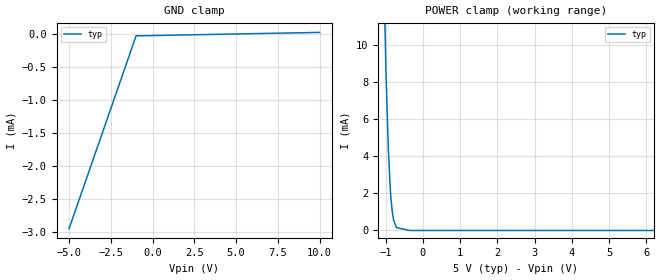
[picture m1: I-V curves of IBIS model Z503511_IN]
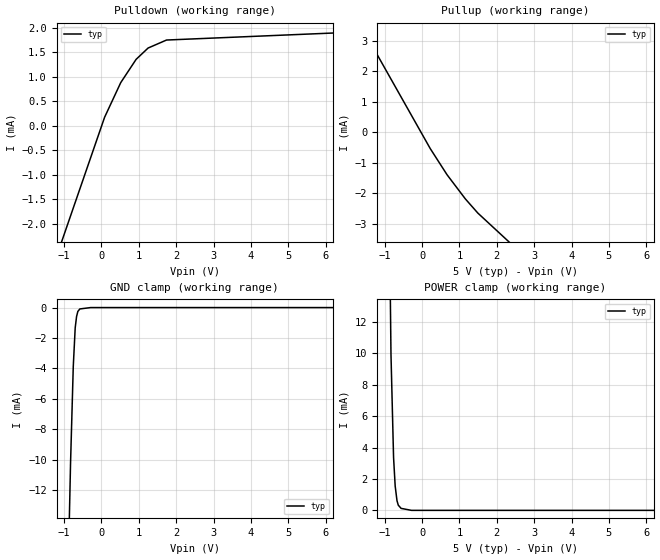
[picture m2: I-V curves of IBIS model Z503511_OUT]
| YOU ARE ONLY AUTHORIZED TO USE THIS SOFTWARE
| ACCORDING TO LICENSOR'S LICENSE RESTRICTIONS.
[IBIS Ver] 3.1
[File Name] mc14027bd.ibs
[File Rev] 2.0
[Source] Measured and created by ICX Technology
[Date] Friday 7/14/00 9:07:52 AM
[Copyright]
| (C) COPYRIGHT 1993-2000
| MENTOR GRAPHICS CORPORATION
| ICX STANDARD LIBRARY, ICX PROJECT MODELING,
| ICX CUSTOM MODELING, ICX VENDOR MODEL
| ALL RIGHTS RESERVED.
| THE FOLLOWING ARE TRADEMARKS OR SERVICE MARKS OF
| MENTOR GRAPHICS CORPORATION:ICX (R), ICX STANDARD
| LIBRARY(R), ICX PROJECT MODELING(R), ICX CUSTOM
| MODELING(R), qualityIBIS(TM), MODELVIEWER(TM),
| AND MODELEDITOR(TM)
| ALL COPIES OF SOFTWARE, INCLUDING BUT NOT LIMITED TO
| ANY MODIFICATIONS, ENHANCEMENTS OR DERIVATIVE WORKS,
| MUST CONTAIN ALL MENTOR GRAPHICS CORPORATION'S
| NOTICES AND LEGENDS, INCLUDING THOSE EMBEDDED IN
| SOFTWARE AND THOSE AFFIXED TO SOFTWARE MEDIUM
| AND CONTAINER, AS RECEIVED FROM MENTOR GRAPHICS
| CORPORATION.
|  ZAP Model Builder 2.7
[Component] MC14027BD
[Manufacturer] OnSemiconductor
[Package]
| variable   typ   min   max
R_pkg  .156ohms NA NA
L_pkg  3.148nH NA NA
C_pkg  .388pF NA NA
[Pin] signal_name  model_name  R_pin  L_pin C_pin
1 QA Z503511_OUT .162 3.798n .418p
2 _QA Z503511_OUT .158 3.358n .398p
3 CA Z503511_IN .154 2.928n .378p
4 RA Z503511_IN .15 2.508n .358p
5 KA Z503511_IN .15 2.508n .358p
6 JA Z503511_IN .154 2.928n .378p
7 SA Z503511_IN .158 3.358n .398p
8 VSS GND .162 3.798n .418p
9 SB Z503511_IN .162 3.798n .418p
10 JB Z503511_IN .158 3.358n .398p
11 KB Z503511_IN .154 2.928n .378p
12 RB Z503511_IN .15 2.508n .358p
13 CB Z503511_IN .15 2.508n .358p
14 _QB Z503511_OUT .154 2.928n .378p
15 QB Z503511_OUT .158 3.358n .398p
16 VDD POWER .162 3.798n .418p
| Models and submodels in the file (2): Z503511_IN (Input), Z503511_OUT (Output)
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| (C) COPYRIGHT 1993-2000
| MENTOR GRAPHICS CORPORATION
| ICX STANDARD LIBRARY, ICX PROJECT MODELING,
| ICX CUSTOM MODELING, ICX VENDOR MODEL
| ALL RIGHTS RESERVED.
| THE FOLLOWING ARE TRADEMARKS OR SERVICE MARKS OF
| MENTOR GRAPHICS CORPORATION:ICX (R), ICX STANDARD
| LIBRARY(R), ICX PROJECT MODELING(R), ICX CUSTOM
| MODELING(R), qualityIBIS(TM), MODELVIEWER(TM),
| AND MODELEDITOR(TM)
| ALL COPIES OF SOFTWARE, INCLUDING BUT NOT LIMITED TO
| ANY MODIFICATIONS, ENHANCEMENTS OR DERIVATIVE WORKS,
| MUST CONTAIN ALL MENTOR GRAPHICS CORPORATION'S
| NOTICES AND LEGENDS, INCLUDING THOSE EMBEDDED IN
| SOFTWARE AND THOSE AFFIXED TO SOFTWARE MEDIUM
| AND CONTAINER, AS RECEIVED FROM MENTOR GRAPHICS
| CORPORATION.
| Model Application Version 1.89 2/18/99.
[Model] Z503511_IN
Model_type Input
Vinl = 1.500V
Vinh = 3.500V
C_comp 4.000pF NA NA
| variable typ   min   max
[Voltage Range] 5.000V NA NA
[GND Clamp Reference] 0.000V NA NA
[POWER Clamp Reference] 5.000V NA NA
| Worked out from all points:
|   POWER clamp passes 1 mA (typ) near -0.82 V on its own axis
[GND Clamp]
-5V       -2.944mA   NA         NA
-986.5mV  -26.27uA   NA         NA
10V       26.1uA     NA         NA
[POWER Clamp]
-5V       570.5mA    NA         NA
-1.22V    34.3mA     NA         NA
-1.059V   14.93mA    NA         NA
-986mV    8.301mA    NA         NA
-923mV    4.285mA    NA         NA
-869mV    2.055mA    NA         NA
-820mV    1.005mA    NA         NA
-785mV    571.3uA    NA         NA
-707mV    153uA      NA         NA
-353.5mV  0A         NA         NA
10V       0A         NA         NA
| (C) COPYRIGHT 1993-2000
| MENTOR GRAPHICS CORPORATION
| ICX STANDARD LIBRARY, ICX PROJECT MODELING,
| ICX CUSTOM MODELING, ICX VENDOR MODEL
| ALL RIGHTS RESERVED.
| THE FOLLOWING ARE TRADEMARKS OR SERVICE MARKS OF
| MENTOR GRAPHICS CORPORATION:ICX (R), ICX STANDARD
| LIBRARY(R), ICX PROJECT MODELING(R), ICX CUSTOM
| MODELING(R), qualityIBIS(TM), MODELVIEWER(TM),
| AND MODELEDITOR(TM)
| ALL COPIES OF SOFTWARE, INCLUDING BUT NOT LIMITED TO
| ANY MODIFICATIONS, ENHANCEMENTS OR DERIVATIVE WORKS,
| MUST CONTAIN ALL MENTOR GRAPHICS CORPORATION'S
| NOTICES AND LEGENDS, INCLUDING THOSE EMBEDDED IN
| SOFTWARE AND THOSE AFFIXED TO SOFTWARE MEDIUM
| AND CONTAINER, AS RECEIVED FROM MENTOR GRAPHICS
| CORPORATION.
| Model Application Version 1.89 2/18/99.
[Model] Z503511_OUT
Model_type Output
Vref=0.000V
Rref=500.0Mohms
Cref=50.00pF
Vmeas=2.500V
C_comp 8.000pF NA NA
| variable typ   min   max
[Voltage Range] 5.000V NA NA
[POWER Clamp Reference] 5.000V NA NA
[Pullup Reference] 5.000V NA NA
[Pulldown Reference] 0.000V NA NA
[GND Clamp Reference] 0.000V NA NA
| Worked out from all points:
|   slope of the pulldown table from 0 to 0.75 V, typ, clamps not added: 644 ohm
|   slope of the pullup table from 0 to 0.75 V, typ, clamps not added: 512 ohm
|   GND clamp passes 1 mA (typ) near -0.68 V on its own axis
|   POWER clamp passes 1 mA (typ) near -0.69 V on its own axis
[GND Clamp]
-5V       -484.2mA   NA         NA
-825.2mV  -10.26mA   NA         NA
-752mV    -3.87mA    NA         NA
-700.4mV  -1.331mA   NA         NA
-664.1mV  -590.4uA   NA         NA
-629.7mV  -254.4uA   NA         NA
-576.1mV  -90.83uA   NA         NA
-288mV    0A         NA         NA
10V       0A         NA         NA
[Pulldown]
-5V       -11.06mA   NA         NA
86.4mV    173.3uA    NA         NA
517.6mV   879.1uA    NA         NA
929.5mV   1.354mA    NA         NA
1.25V     1.585mA    NA         NA
1.743V    1.748mA    NA         NA
10V       2.013mA    NA         NA
[Pullup]
-5V       10.78mA    NA         NA
220mV     -540uA     NA         NA
669mV     -1.396mA   NA         NA
1.162V    -2.193mA   NA         NA
1.494V    -2.654mA   NA         NA
10V       -12.29mA   NA         NA
[POWER Clamp]
-5V       886.6mA    NA         NA
-830mV    9.933mA    NA         NA
-761mV    3.382mA    NA         NA
-718mV    1.554mA    NA         NA
-669mV    611.8uA    NA         NA
-634mV    326.7uA    NA         NA
-559mV    125.4uA    NA         NA
-279.5mV  0A         NA         NA
10V       0A         NA         NA
[Ramp]
| variable typ min max
dV/dt_r 2.494/23.81n NA NA
dV/dt_f 2.494/41.94n NA NA
R_load = 2.500kOhms
